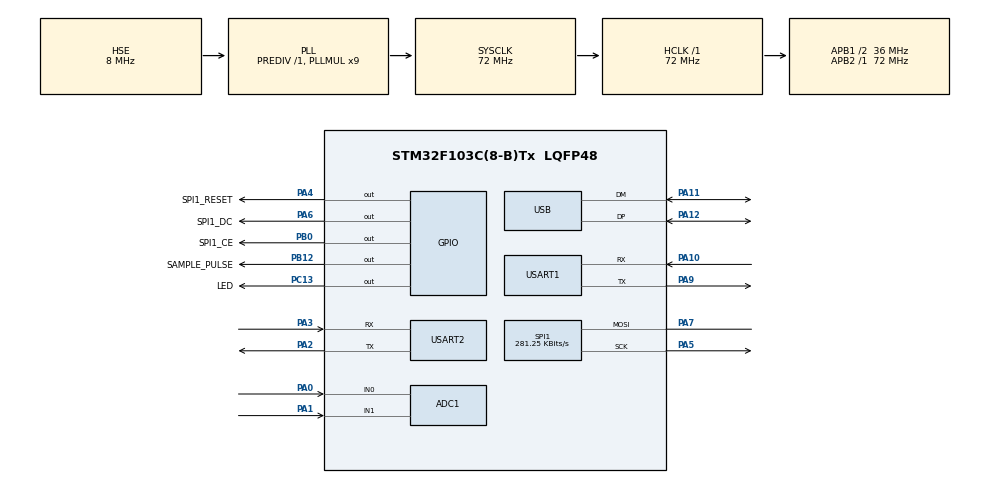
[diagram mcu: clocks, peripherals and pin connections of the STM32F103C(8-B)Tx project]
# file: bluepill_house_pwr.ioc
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Mcu.Family=STM32F1
USB_DEVICE.CLASS_NAME_FS=CDC
SPI1.VirtualType=VM_MASTER
VP_RTC_VS_RTC_Activate.Mode=RTC_Enabled
PA11.Mode=Device
PA6.GPIO_Label=SPI1_DC
PB0.GPIO_Label=SPI1_CE
RCC.SYSCLKSource=RCC_SYSCLKSOURCE_PLLCLK
ProjectManager.StackSize=0x400
VP_TIM1_VS_no_output1.Mode=Output Compare1 No Output
PD1-OSC_OUT.Signal=RCC_OSC_OUT
VP_RTC_No_RTC_Output.Mode=RTC_OUT_NO
PA12.Signal=USB_DP
TIM1.Prescaler=0x0000
SPI1.CLKPolarity=SPI_POLARITY_HIGH
ADC1.Channel-3\#ChannelRegularConversion=ADC_CHANNEL_1
SPI1.Direction=SPI_DIRECTION_1LINE
USB_DEVICE.USBD_MAX_NUM_INTERFACES=1
RCC.HCLKFreq_Value=72000000
RCC.APB2TimFreq_Value=72000000
ADC1.Channel-2\#ChannelRegularConversion=ADC_CHANNEL_0
SPI1.CalculateBaudRate=281.25 KBits/s
TIM1.OC1Preload=ENABLE
RCC.AHBFreq_Value=72000000
RCC.RTCClockSelection=RCC_RTCCLKSOURCE_LSE
RCC.PLLMUL=RCC_PLL_MUL9
PB12.GPIO_Label=SAMPLE_PULSE
ADC1.Rank-2\#ChannelRegularConversion=1
PC14-OSC32_IN.Mode=LSE-External-Oscillator
SH.ADCx_IN0.0=ADC1_IN0,IN0
VP_FREERTOS_VS_CMSIS_V1.Mode=CMSIS_V1
VP_TIM1_VS_ClockSourceINT.Mode=Internal
Mcu.Package=LQFP48
PA6.Signal=GPIO_Output
NVIC.TimeBase=TIM4_IRQn
TIM1.Pulse-Output\ Compare1\ No\ Output=0x8000
USART2.VirtualMode=VM_ASYNC
NVIC.TimeBaseIP=TIM4
PA10.Signal=USART1_RX
SH.ADCx_IN1.0=ADC1_IN1,IN1
RCC.APB1TimFreq_Value=72000000
TIM1.Period=18250
NVIC.USART1_IRQn=true\:5\:0\:false\:false\:true\:true\:true\:true
SPI1.BaudRatePrescaler=SPI_BAUDRATEPRESCALER_256
PA4.GPIO_Label=SPI1_RESET
PA3.Signal=USART2_RX
PA5.Mode=Simplex_Bidirectional_Master
RCC.PLLSourceVirtual=RCC_PLLSOURCE_HSE
PC15-OSC32_OUT.Mode=LSE-External-Oscillator
FREERTOS.Tasks01=defaultTask,0,1024,StartDefaultTask,Default,NULL,Static,defaultTaskBuffer,defaultTaskControlBlock;ledTask,-3,128,LedTask,Default,NULL,Static,ledTaskBuffer,ledTaskControlBlock
PA7.Mode=Simplex_Bidirectional_Master
PD1-OSC_OUT.Mode=HSE-External-Oscillator
PA10.Mode=Asynchronous
USB_DEVICE.VirtualModeFS=Cdc_FS
TIM1.Channel-Output\ Compare1\ No\ Output=TIM_CHANNEL_1
ADC1.DiscontinuousConvMode=ENABLE
PC13-TAMPER-RTC.Signal=GPIO_Output
RCC.USBPrescaler=RCC_USBCLKSOURCE_PLL_DIV1_5
SPI1.CLKPhase=SPI_PHASE_2EDGE
PD0-OSC_IN.Signal=RCC_OSC_IN
RCC.APB1CLKDivider=RCC_HCLK_DIV2
PC14-OSC32_IN.Signal=RCC_OSC32_IN
VP_SYS_VS_ND.Mode=No_Debug
NVIC.USART2_IRQn=true\:5\:0\:false\:false\:true\:true\:true\:true
ADC1.SamplingTime-2\#ChannelRegularConversion=ADC_SAMPLETIME_1CYCLE_5
PA0-WKUP.Signal=ADCx_IN0
TIM1.ClockDivision=TIM_CLOCKDIVISION_DIV1
RCC.ADCPresc=RCC_ADCPCLK2_DIV6
PA3.Mode=Asynchronous
TIM1.AutoReloadPreload=TIM_AUTORELOAD_PRELOAD_DISABLE
PA9.Mode=Asynchronous
ProjectManager.TargetToolchain=Makefile
VP_USB_DEVICE_VS_USB_DEVICE_CDC_FS.Mode=CDC_FS
PA9.Signal=USART1_TX
RCC.USBFreq_Value=48000000
PC15-OSC32_OUT.Signal=RCC_OSC32_OUT
PA1.Signal=ADCx_IN1
PD0-OSC_IN.Mode=HSE-External-Oscillator
PA5.Signal=SPI1_SCK
board=custom
PC13-TAMPER-RTC.GPIO_Label=LED
TIM1.TIM_MasterOutputTrigger=TIM_TRGO_OC1REF
RCC.APB2Freq_Value=72000000
SPI1.Mode=SPI_MODE_MASTER
NVIC.USB_LP_CAN1_RX0_IRQn=true\:5\:0\:false\:false\:true\:true\:false\:true
ADC1.NbrOfConversion=2
Mcu.Name=STM32F103C(8-B)Tx
PA2.Signal=USART2_TX
ADC1.ExternalTrigConv=ADC_SOFTWARE_START
NVIC.TIM1_CC_IRQn=true\:5\:0\:false\:false\:true\:true\:true\:true
PA4.Signal=GPIO_Output
RCC.SYSCLKFreq_VALUE=72000000
ADC1.master=1
PA12.Mode=Device
ADC1.Rank-3\#ChannelRegularConversion=2
ADC1.SamplingTime-3\#ChannelRegularConversion=ADC_SAMPLETIME_1CYCLE_5
USART1.VirtualMode=VM_ASYNC
PA11.Signal=USB_DM
ProjectManager.HeapSize=0x200
VP_SYS_VS_tim4.Mode=TIM4
USB_DEVICE.USBD_MAX_NUM_CONFIGURATION=3
NVIC.PriorityGroup=NVIC_PRIORITYGROUP_4
ADC1.NbrOfConversionFlag=1
ADC1.EnableRegularConversion=ENABLE
PA2.Mode=Asynchronous
NVIC.TIM4_IRQn=true\:0\:0\:false\:false\:true\:false\:false\:true
RCC.APB1Freq_Value=36000000
PB0.Signal=GPIO_Output
USB_DEVICE.VirtualMode=Cdc
PB12.Signal=GPIO_Output
TIM1.TIM_MasterSlaveMode=TIM_MASTERSLAVEMODE_DISABLE
PA7.Signal=SPI1_MOSI

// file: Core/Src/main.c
/* USER CODE BEGIN Header */
/**
  ******************************************************************************
  * @file           : main.c
  * @brief          : Main program body
  ******************************************************************************
  * @attention
  *
  * <h2><center>&copy; Copyright (c) 2020 STMicroelectronics.
  * All rights reserved.</center></h2>
  *
  * This software component is licensed by ST under BSD 3-Clause license,
  * the "License"; You may not use this file except in compliance with the
  * License. You may obtain a copy of the License at:
  *                        opensource.org/licenses/BSD-3-Clause
  *
  ******************************************************************************
  */
/* USER CODE END Header */
#include "main.h"
#include "cmsis_os.h"
#include "adc.h"
#include "rtc.h"
#include "spi.h"
#include "tim.h"
#include "usart.h"
#include "usb_device.h"
#include "gpio.h"

/* USER CODE BEGIN Includes */
#include <stdio.h>
#include "usbd_cdc_if.h"
/* USER CODE END Includes */

void SystemClock_Config(void);
void MX_FREERTOS_Init(void);

int main(void)
{

  /* MCU Configuration--------------------------------------------------------*/

  /* Reset of all peripherals, Initializes the Flash interface and the Systick. */
  HAL_Init();

  /* Configure the system clock */
  SystemClock_Config();

  /* Initialize all configured peripherals */
  MX_GPIO_Init();
  MX_ADC1_Init();
  MX_USART1_UART_Init();
  MX_USART2_UART_Init();
  MX_TIM1_Init();
  MX_RTC_Init();
  MX_SPI1_Init();
  /* USER CODE BEGIN 2 */

  printf("House Power Monitor\n");
  printf("SYSCLOCK: %lu Hz\n", HAL_RCC_GetSysClockFreq());
  printf("HCLOCK  : %lu Hz\n", HAL_RCC_GetHCLKFreq());
  printf("APB1    : %lu Hz\n", HAL_RCC_GetPCLK1Freq());
  printf("APB2    : %lu Hz\n", HAL_RCC_GetPCLK2Freq());
  setbuf(stdout, NULL);

  USART1->CR1 |= USART_CR1_RXNEIE;
  USART1->CR3 |= USART_CR3_EIE;

  USART2->CR1 |= USART_CR1_RXNEIE;
  USART2->CR3 |= USART_CR3_EIE;
  /* USER CODE END 2 */

  /* Call init function for freertos objects (in freertos.c) */
  MX_FREERTOS_Init();
  /* Start scheduler */
  osKernelStart();

  /* We should never get here as control is now taken by the scheduler */
  /* Infinite loop */
  while (1)
  {

  }
}

void SystemClock_Config(void)
{
  RCC_OscInitTypeDef RCC_OscInitStruct = {0};
  RCC_ClkInitTypeDef RCC_ClkInitStruct = {0};
  RCC_PeriphCLKInitTypeDef PeriphClkInit = {0};

  /** Initializes the RCC Oscillators according to the specified parameters
  * in the RCC_OscInitTypeDef structure.
  */
  RCC_OscInitStruct.OscillatorType = RCC_OSCILLATORTYPE_HSE|RCC_OSCILLATORTYPE_LSE;
  RCC_OscInitStruct.HSEState = RCC_HSE_ON;
  RCC_OscInitStruct.HSEPredivValue = RCC_HSE_PREDIV_DIV1;
  RCC_OscInitStruct.LSEState = RCC_LSE_ON;
  RCC_OscInitStruct.HSIState = RCC_HSI_ON;
  RCC_OscInitStruct.PLL.PLLState = RCC_PLL_ON;
  RCC_OscInitStruct.PLL.PLLSource = RCC_PLLSOURCE_HSE;
  RCC_OscInitStruct.PLL.PLLMUL = RCC_PLL_MUL9;
  if (HAL_RCC_OscConfig(&RCC_OscInitStruct) != HAL_OK)
  {
    Error_Handler();
  }
  /** Initializes the CPU, AHB and APB buses clocks
  */
  RCC_ClkInitStruct.ClockType = RCC_CLOCKTYPE_HCLK|RCC_CLOCKTYPE_SYSCLK
                              |RCC_CLOCKTYPE_PCLK1|RCC_CLOCKTYPE_PCLK2;
  RCC_ClkInitStruct.SYSCLKSource = RCC_SYSCLKSOURCE_PLLCLK;
  RCC_ClkInitStruct.AHBCLKDivider = RCC_SYSCLK_DIV1;
  RCC_ClkInitStruct.APB1CLKDivider = RCC_HCLK_DIV2;
  RCC_ClkInitStruct.APB2CLKDivider = RCC_HCLK_DIV1;

  if (HAL_RCC_ClockConfig(&RCC_ClkInitStruct, FLASH_LATENCY_2) != HAL_OK)
  {
    Error_Handler();
  }
  PeriphClkInit.PeriphClockSelection = RCC_PERIPHCLK_RTC|RCC_PERIPHCLK_ADC
                              |RCC_PERIPHCLK_USB;
  PeriphClkInit.RTCClockSelection = RCC_RTCCLKSOURCE_LSE;
  PeriphClkInit.AdcClockSelection = RCC_ADCPCLK2_DIV6;
  PeriphClkInit.UsbClockSelection = RCC_USBCLKSOURCE_PLL_DIV1_5;
  if (HAL_RCCEx_PeriphCLKConfig(&PeriphClkInit) != HAL_OK)
  {
    Error_Handler();
  }
}

/* USER CODE BEGIN 4 */

#ifdef __GNUC__
/* With GCC/RAISONANCE, small printf (option LD Linker->Libraries->Small printf
 set to 'Yes') calls __io_putchar() */
#define PUTCHAR_PROTOTYPE int __io_putchar(int ch)
#else
#define PUTCHAR_PROTOTYPE int fputc(int ch, FILE *f)
#endif /* __GNUC__ */

/**
 * @brief Retargets the C library printf function to the USART.
 * @param None
 * @retval None
 */
PUTCHAR_PROTOTYPE
{
  if(ch == '\n')
  {
    uint8_t cr = '\r';
    HAL_UART_Transmit(&huart1, &cr, 1, 0xFFFF);
  }

  if(ch == '\r')
  {
    uint8_t cr = '\n';
    HAL_UART_Transmit(&huart1, &cr, 1, 0xFFFF);
  }

 HAL_UART_Transmit(&huart1, (uint8_t *)&ch, 1, 0xFFFF);

return ch;
}
/* USER CODE END 4 */

 /**
  * @brief  Period elapsed callback in non blocking mode
  * @note   This function is called  when TIM4 interrupt took place, inside
  * HAL_TIM_IRQHandler(). It makes a direct call to HAL_IncTick() to increment
  * a global variable "uwTick" used as application time base.
  * @param  htim : TIM handle
  * @retval None
  */
void HAL_TIM_PeriodElapsedCallback(TIM_HandleTypeDef *htim)
{
  if (htim->Instance == TIM4) {
    HAL_IncTick();
  }
}

void Error_Handler(void)
{
}

/************************ (C) COPYRIGHT STMicroelectronics *****END OF FILE****/

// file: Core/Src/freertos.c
/* USER CODE BEGIN Header */
/**
  ******************************************************************************
  * File Name          : freertos.c
  * Description        : Code for freertos applications
  ******************************************************************************
  * @attention
  *
  * <h2><center>&copy; Copyright (c) 2021 STMicroelectronics.
  * All rights reserved.</center></h2>
  *
  * This software component is licensed by ST under Ultimate Liberty license
  * SLA0044, the "License"; You may not use this file except in compliance with
  * the License. You may obtain a copy of the License at:
  *                             www.st.com/SLA0044
  *
  ******************************************************************************
  */
/* USER CODE END Header */

#include "FreeRTOS.h"
#include "task.h"
#include "main.h"
#include "cmsis_os.h"

/* USER CODE BEGIN Includes */
#include <stdio.h>

#include "Utils/terminal.h"
#include "nokia_lcd.h"
#include "pwr_monitor.h"
#include "wrap_cpp.h"

/* USER CODE END Includes */

/* USER CODE BEGIN Variables */
static int led_rate = 100;
/* USER CODE END Variables */
osThreadId defaultTaskHandle;
uint32_t defaultTaskBuffer[ 1024 ];
osStaticThreadDef_t defaultTaskControlBlock;
osThreadId ledTaskHandle;
uint32_t ledTaskBuffer[ 128 ];
osStaticThreadDef_t ledTaskControlBlock;

void StartDefaultTask(void const * argument);
void LedTask(void const * argument);

extern void MX_USB_DEVICE_Init(void);
void MX_FREERTOS_Init(void); /* (MISRA C 2004 rule 8.1) */

/* GetIdleTaskMemory prototype (linked to static allocation support) */
void vApplicationGetIdleTaskMemory( StaticTask_t **ppxIdleTaskTCBBuffer, StackType_t **ppxIdleTaskStackBuffer, uint32_t *pulIdleTaskStackSize );

/* USER CODE BEGIN GET_IDLE_TASK_MEMORY */
static StaticTask_t xIdleTaskTCBBuffer;
static StackType_t xIdleStack[configMINIMAL_STACK_SIZE];

void vApplicationGetIdleTaskMemory( StaticTask_t **ppxIdleTaskTCBBuffer, StackType_t **ppxIdleTaskStackBuffer, uint32_t *pulIdleTaskStackSize )
{
  *ppxIdleTaskTCBBuffer = &xIdleTaskTCBBuffer;
  *ppxIdleTaskStackBuffer = &xIdleStack[0];
  *pulIdleTaskStackSize = configMINIMAL_STACK_SIZE;
  /* place for user code */
}
/* USER CODE END GET_IDLE_TASK_MEMORY */

void MX_FREERTOS_Init(void) {
  /* USER CODE BEGIN Init */
  cpp_init();
  pwr_monitor_init();

  terminal_init("pwr$ ");
  /* USER CODE END Init */

  /* Create the thread(s) */
  /* definition and creation of defaultTask */
  osThreadStaticDef(defaultTask, StartDefaultTask, osPriorityNormal, 0, 1024, defaultTaskBuffer, &defaultTaskControlBlock);
  defaultTaskHandle = osThreadCreate(osThread(defaultTask), NULL);

  /* definition and creation of ledTask */
  osThreadStaticDef(ledTask, LedTask, osPriorityNormal, 0, 128, ledTaskBuffer, &ledTaskControlBlock);
  ledTaskHandle = osThreadCreate(osThread(ledTask), NULL);

}

void StartDefaultTask(void const * argument)
{
  /* init code for USB_DEVICE */
  MX_USB_DEVICE_Init();
  /* USER CODE BEGIN StartDefaultTask */
  nokia_lcd_init();
  /* Infinite loop */
  for(;;)
  {
    //only start new samples while Sonoff is not busy
    int sonoff_idle = esp_idle();
    if(sonoff_idle)
      pwr_monitor_run();

    //Only while ADC is not sampling, do run() with delays
    if(!pwr_monitor_busy())
    {
      led_rate = 500;
      terminal_run();
      nokia_lcd_run();
      cpp_run();
      //Reset every 3.14 hours
      if(HAL_GetTick() > 11304000)
      {
        printf("House keep Reboot...\n");
        NVIC_SystemReset();
      }
    }
    else
    {
      led_rate = 250;
    }

    if(!sonoff_idle)
      led_rate = 50;

    osDelay(1);
  }
  /* USER CODE END StartDefaultTask */
}

void LedTask(void const * argument)
{
  /* USER CODE BEGIN LedTask */
  /* Infinite loop */
  for(;;)
  {
    HAL_GPIO_TogglePin(LED_GPIO_Port, LED_Pin);
    osDelay(led_rate);
  }
  /* USER CODE END LedTask */
}

/************************ (C) COPYRIGHT STMicroelectronics *****END OF FILE****/
